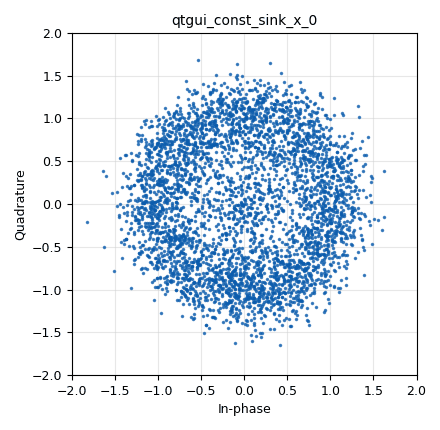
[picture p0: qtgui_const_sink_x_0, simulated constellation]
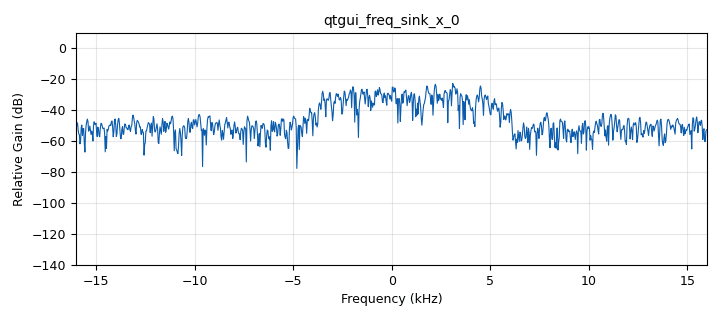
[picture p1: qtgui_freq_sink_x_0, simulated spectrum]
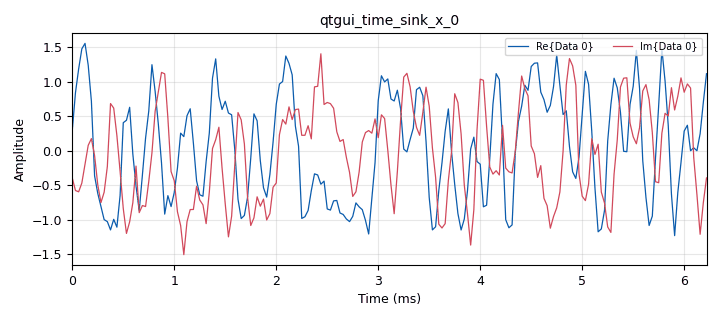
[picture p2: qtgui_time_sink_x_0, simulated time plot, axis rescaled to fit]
options:
  parameters:
    author: engineerang
    generate_options: qt_gui
    id: p1_mpsk_stage2
    output_language: python
    title: Not titled yet
  states: {}

blocks:
- name: arity
  id: variable
  parameters:
    value: '4'
  states: {}
- name: excess_bw
  id: variable
  parameters:
    value: '00.35'
  states: {}
- name: freq_offset
  id: variable_qtgui_range
  parameters:
    label: 'Channel: Frequency Offset'
    start: '-0.1'
    step: '0.001'
    stop: '0.1'
    value: '0.025'
  states: {}
- name: noise_volt
  id: variable_qtgui_range
  parameters:
    label: 'Channel: Noise Voltage'
    start: '0'
    step: '0.01'
    stop: '1'
    value: '0.2'
  states: {}
- name: samp_rate
  id: variable
  parameters:
    value: '32000'
  states: {}
- name: sps
  id: variable
  parameters:
    value: '4'
  states: {}
- name: taps
  id: variable
  parameters:
    value: '1'
  states: {}
- name: time_offset
  id: variable_qtgui_range
  parameters:
    label: 'Channel: Timing Offset '
    start: '0.999'
    step: '0.0001'
    stop: '1.001'
    value: '1.0005'
  states: {}
- name: variable_constellation_rect_0
  id: variable_constellation_rect
  parameters:
    const_points: '[-0.707-0.707j, -0.707+0.707j, 0.707+0.707j, 0.707-0.707j]'
    imag_sect: '2'
    real_sect: '2'
    rot_sym: '4'
    sym_map: '[0, 1, 2, 3]'
    w_imag_sect: '1'
    w_real_sect: '1'
  states: {}
- name: analog_random_source_x_0
  id: analog_random_source_x
  parameters:
    max: '256'
    min: '0'
    num_samps: '10000'
    repeat: 'True'
    type: byte
  states: {}
- name: blocks_throttle_0
  id: blocks_throttle
  parameters:
    samples_per_second: samp_rate
    type: complex
  states: {}
- name: channels_channel_model_0
  id: channels_channel_model
  parameters:
    epsilon: time_offset
    freq_offset: freq_offset
    noise_voltage: noise_volt
    seed: '0'
    taps: taps
  states: {}
- name: digital_constellation_modulator_0
  id: digital_constellation_modulator
  parameters:
    constellation: variable_constellation_rect_0
    differential: 'True'
    excess_bw: excess_bw
    samples_per_symbol: '4'
  states: {}
- name: qtgui_const_sink_x_0
  id: qtgui_const_sink_x
  parameters:
    size: '4096'
    type: complex
  states: {}
- name: qtgui_freq_sink_x_0
  id: qtgui_freq_sink_x
  parameters:
    bw: samp_rate
    fc: '0'
    fftsize: '1024'
    type: complex
  states: {}
- name: qtgui_time_sink_x_0
  id: qtgui_time_sink_x
  parameters:
    size: '200'
    srate: samp_rate
    type: complex
  states: {}

connections:
- [analog_random_source_x_0, '0', digital_constellation_modulator_0, '0']
- [blocks_throttle_0, '0', channels_channel_model_0, '0']
- [channels_channel_model_0, '0', qtgui_const_sink_x_0, '0']
- [channels_channel_model_0, '0', qtgui_freq_sink_x_0, '0']
- [channels_channel_model_0, '0', qtgui_time_sink_x_0, '0']
- [digital_constellation_modulator_0, '0', blocks_throttle_0, '0']

metadata:
  file_format: 1
